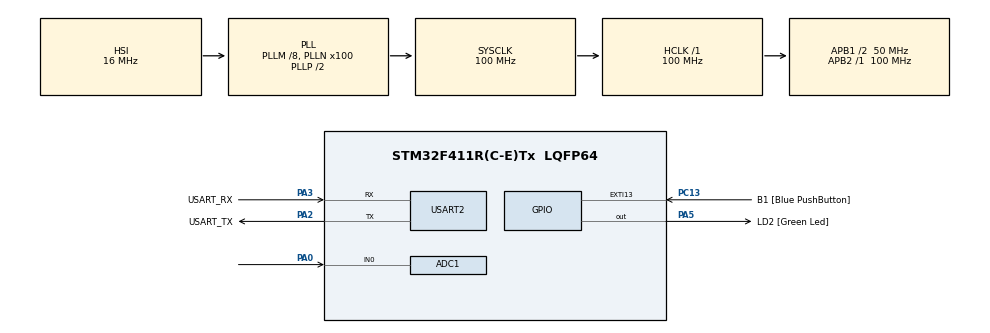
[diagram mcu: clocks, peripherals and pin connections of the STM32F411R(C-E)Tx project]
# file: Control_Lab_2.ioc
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ADC1.Channel-0\#ChannelRegularConversion=ADC_CHANNEL_0
ADC1.ExternalTrigConv=ADC_EXTERNALTRIGCONV_T3_TRGO
ADC1.NbrOfConversionFlag=1
ADC1.Rank-0\#ChannelRegularConversion=1
ADC1.SamplingTime-0\#ChannelRegularConversion=ADC_SAMPLETIME_3CYCLES
ADC1.master=1
Mcu.Family=STM32F4
Mcu.Name=STM32F411R(C-E)Tx
Mcu.Package=LQFP64
NVIC.ADC_IRQn=true\:0\:0\:false\:false\:true\:true\:true
NVIC.PriorityGroup=NVIC_PRIORITYGROUP_0
PA0-WKUP.Signal=ADCx_IN0
PA13.GPIO_Label=TMS
PA13.Mode=Serial_Wire
PA13.Signal=SYS_JTMS-SWDIO
PA14.GPIO_Label=TCK
PA14.Mode=Serial_Wire
PA14.Signal=SYS_JTCK-SWCLK
PA2.GPIO_Label=USART_TX
PA2.Mode=Asynchronous
PA2.Signal=USART2_TX
PA3.GPIO_Label=USART_RX
PA3.Mode=Asynchronous
PA3.Signal=USART2_RX
PA5.GPIO_Label=LD2 [Green Led]
PA5.Signal=GPIO_Output
PB3.GPIO_Label=SWO
PB3.Signal=SYS_JTDO-SWO
PC13-ANTI_TAMP.GPIO_Label=B1 [Blue PushButton]
PC13-ANTI_TAMP.GPIO_ModeDefaultEXTI=GPIO_MODE_IT_FALLING
PC13-ANTI_TAMP.Signal=GPXTI13
PC14-OSC32_IN.Mode=LSE-External-Oscillator
PC14-OSC32_IN.Signal=RCC_OSC32_IN
PC15-OSC32_OUT.Mode=LSE-External-Oscillator
PC15-OSC32_OUT.Signal=RCC_OSC32_OUT
PH0\ -\ OSC_IN.Mode=HSE-External-Clock-Source
PH0\ -\ OSC_IN.Signal=RCC_OSC_IN
PH1\ -\ OSC_OUT.Mode=HSE-External-Clock-Source
PH1\ -\ OSC_OUT.Signal=RCC_OSC_OUT
ProjectManager.HeapSize=0x200
ProjectManager.StackSize=0x400
ProjectManager.TargetToolchain=STM32CubeIDE
RCC.48MHZClocksFreq_Value=50000000
RCC.AHBFreq_Value=100000000
RCC.APB1CLKDivider=RCC_HCLK_DIV2
RCC.APB1Freq_Value=50000000
RCC.APB1TimFreq_Value=100000000
RCC.APB2Freq_Value=100000000
RCC.APB2TimFreq_Value=100000000
RCC.CortexFreq_Value=100000000
RCC.FLatency-AdvancedSettings=FLASH_LATENCY_3
RCC.HCLKFreq_Value=100000000
RCC.HSE_VALUE=8000000
RCC.HSI_VALUE=16000000
RCC.PLLM=8
RCC.PLLN=100
RCC.SYSCLKFreq_VALUE=100000000
RCC.SYSCLKSource=RCC_SYSCLKSOURCE_PLLCLK
RCC.VCOOutputFreq_Value=200000000
SH.ADCx_IN0.0=ADC1_IN0,IN0
TIM3.Period=1999
TIM3.Prescaler=999
TIM3.TIM_MasterOutputTrigger=TIM_TRGO_UPDATE
USART2.VirtualMode=VM_ASYNC
VP_TIM3_VS_ClockSourceINT.Mode=Internal
board=NUCLEO-F411RE

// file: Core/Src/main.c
/* USER CODE BEGIN Header */
/**
  ******************************************************************************
  * @file           : main.c
  * @brief          : Main program body
  ******************************************************************************
  * @attention
  *
  * Copyright (c) 2022 STMicroelectronics.
  * All rights reserved.
  *
  * This software is licensed under terms that can be found in the LICENSE file
  * in the root directory of this software component.
  * If no LICENSE file comes with this software, it is provided AS-IS.
  *
  ******************************************************************************
  */
/* USER CODE END Header */
#include "main.h"

ADC_HandleTypeDef hadc1;

TIM_HandleTypeDef htim3;

UART_HandleTypeDef huart2;

/* USER CODE BEGIN PV */

//var[1] is current value and var[0] is previous value
float Poten_Value[2] = {0} ; // P_n
float Position[2] = {0}; //P_o
float Unwrap_Position[2] = {0}; //y_n
float Filter_Out[2] = {0};
float Velocity[2] = {0};
float Sample_Time = 1/50;
float Cutoff_Frequency = 0.3183 ; // 1/M_PI
float Delta_Position_Poten_Func = 0;
float Delta_Position_Velocity_Func = 0;
float Delta_Position_Unwrap = 0 ;
float Velocity_Foward = 0 ;
int a = 0;

/* USER CODE END PV */

void SystemClock_Config(void);
static void MX_GPIO_Init(void);
static void MX_USART2_UART_Init(void);
static void MX_ADC1_Init(void);
static void MX_TIM3_Init(void);

int main(void)
{

  /* MCU Configuration--------------------------------------------------------*/

  /* Reset of all peripherals, Initializes the Flash interface and the Systick. */
  HAL_Init();

  /* Configure the system clock */
  SystemClock_Config();

  /* Initialize all configured peripherals */
  MX_GPIO_Init();
  MX_USART2_UART_Init();
  MX_ADC1_Init();
  MX_TIM3_Init();
  /* USER CODE BEGIN 2 */

  HAL_ADC_Start_IT(&hadc1);
  HAL_TIM_Base_Start(&htim3);
  /* USER CODE END 2 */

  /* Infinite loop */
  while (1)
  {

  }
}

void SystemClock_Config(void)
{
  RCC_OscInitTypeDef RCC_OscInitStruct = {0};
  RCC_ClkInitTypeDef RCC_ClkInitStruct = {0};

  /** Configure the main internal regulator output voltage
  */
  __HAL_RCC_PWR_CLK_ENABLE();
  __HAL_PWR_VOLTAGESCALING_CONFIG(PWR_REGULATOR_VOLTAGE_SCALE1);
  /** Initializes the RCC Oscillators according to the specified parameters
  * in the RCC_OscInitTypeDef structure.
  */
  RCC_OscInitStruct.OscillatorType = RCC_OSCILLATORTYPE_HSI;
  RCC_OscInitStruct.HSIState = RCC_HSI_ON;
  RCC_OscInitStruct.HSICalibrationValue = RCC_HSICALIBRATION_DEFAULT;
  RCC_OscInitStruct.PLL.PLLState = RCC_PLL_ON;
  RCC_OscInitStruct.PLL.PLLSource = RCC_PLLSOURCE_HSI;
  RCC_OscInitStruct.PLL.PLLM = 8;
  RCC_OscInitStruct.PLL.PLLN = 100;
  RCC_OscInitStruct.PLL.PLLP = RCC_PLLP_DIV2;
  RCC_OscInitStruct.PLL.PLLQ = 4;
  if (HAL_RCC_OscConfig(&RCC_OscInitStruct) != HAL_OK)
  {
    Error_Handler();
  }
  /** Initializes the CPU, AHB and APB buses clocks
  */
  RCC_ClkInitStruct.ClockType = RCC_CLOCKTYPE_HCLK|RCC_CLOCKTYPE_SYSCLK
                              |RCC_CLOCKTYPE_PCLK1|RCC_CLOCKTYPE_PCLK2;
  RCC_ClkInitStruct.SYSCLKSource = RCC_SYSCLKSOURCE_PLLCLK;
  RCC_ClkInitStruct.AHBCLKDivider = RCC_SYSCLK_DIV1;
  RCC_ClkInitStruct.APB1CLKDivider = RCC_HCLK_DIV2;
  RCC_ClkInitStruct.APB2CLKDivider = RCC_HCLK_DIV1;

  if (HAL_RCC_ClockConfig(&RCC_ClkInitStruct, FLASH_LATENCY_3) != HAL_OK)
  {
    Error_Handler();
  }
}

static void MX_ADC1_Init(void)
{

  ADC_ChannelConfTypeDef sConfig = {0};

  /** Configure the global features of the ADC (Clock, Resolution, Data Alignment and number of conversion)
  */
  hadc1.Instance = ADC1;
  hadc1.Init.ClockPrescaler = ADC_CLOCK_SYNC_PCLK_DIV4;
  hadc1.Init.Resolution = ADC_RESOLUTION_12B;
  hadc1.Init.ScanConvMode = DISABLE;
  hadc1.Init.ContinuousConvMode = DISABLE;
  hadc1.Init.DiscontinuousConvMode = DISABLE;
  hadc1.Init.ExternalTrigConvEdge = ADC_EXTERNALTRIGCONVEDGE_RISING;
  hadc1.Init.ExternalTrigConv = ADC_EXTERNALTRIGCONV_T3_TRGO;
  hadc1.Init.DataAlign = ADC_DATAALIGN_RIGHT;
  hadc1.Init.NbrOfConversion = 1;
  hadc1.Init.DMAContinuousRequests = DISABLE;
  hadc1.Init.EOCSelection = ADC_EOC_SINGLE_CONV;
  if (HAL_ADC_Init(&hadc1) != HAL_OK)
  {
    Error_Handler();
  }
  /** Configure for the selected ADC regular channel its corresponding rank in the sequencer and its sample time.
  */
  sConfig.Channel = ADC_CHANNEL_0;
  sConfig.Rank = 1;
  sConfig.SamplingTime = ADC_SAMPLETIME_3CYCLES;
  if (HAL_ADC_ConfigChannel(&hadc1, &sConfig) != HAL_OK)
  {
    Error_Handler();
  }

}

static void MX_TIM3_Init(void)
{

  TIM_ClockConfigTypeDef sClockSourceConfig = {0};
  TIM_MasterConfigTypeDef sMasterConfig = {0};

  htim3.Instance = TIM3;
  htim3.Init.Prescaler = 999;
  htim3.Init.CounterMode = TIM_COUNTERMODE_UP;
  htim3.Init.Period = 1999;
  htim3.Init.ClockDivision = TIM_CLOCKDIVISION_DIV1;
  htim3.Init.AutoReloadPreload = TIM_AUTORELOAD_PRELOAD_DISABLE;
  if (HAL_TIM_Base_Init(&htim3) != HAL_OK)
  {
    Error_Handler();
  }
  sClockSourceConfig.ClockSource = TIM_CLOCKSOURCE_INTERNAL;
  if (HAL_TIM_ConfigClockSource(&htim3, &sClockSourceConfig) != HAL_OK)
  {
    Error_Handler();
  }
  sMasterConfig.MasterOutputTrigger = TIM_TRGO_UPDATE;
  sMasterConfig.MasterSlaveMode = TIM_MASTERSLAVEMODE_DISABLE;
  if (HAL_TIMEx_MasterConfigSynchronization(&htim3, &sMasterConfig) != HAL_OK)
  {
    Error_Handler();
  }

}

static void MX_USART2_UART_Init(void)
{

  huart2.Instance = USART2;
  huart2.Init.BaudRate = 115200;
  huart2.Init.WordLength = UART_WORDLENGTH_8B;
  huart2.Init.StopBits = UART_STOPBITS_1;
  huart2.Init.Parity = UART_PARITY_NONE;
  huart2.Init.Mode = UART_MODE_TX_RX;
  huart2.Init.HwFlowCtl = UART_HWCONTROL_NONE;
  huart2.Init.OverSampling = UART_OVERSAMPLING_16;
  if (HAL_UART_Init(&huart2) != HAL_OK)
  {
    Error_Handler();
  }

}

static void MX_GPIO_Init(void)
{
  GPIO_InitTypeDef GPIO_InitStruct = {0};

  /* GPIO Ports Clock Enable */
  __HAL_RCC_GPIOC_CLK_ENABLE();
  __HAL_RCC_GPIOH_CLK_ENABLE();
  __HAL_RCC_GPIOA_CLK_ENABLE();
  __HAL_RCC_GPIOB_CLK_ENABLE();

  /*Configure GPIO pin Output Level */
  HAL_GPIO_WritePin(LD2_GPIO_Port, LD2_Pin, GPIO_PIN_RESET);

  /*Configure GPIO pin : B1_Pin */
  GPIO_InitStruct.Pin = B1_Pin;
  GPIO_InitStruct.Mode = GPIO_MODE_IT_FALLING;
  GPIO_InitStruct.Pull = GPIO_NOPULL;
  HAL_GPIO_Init(B1_GPIO_Port, &GPIO_InitStruct);

  /*Configure GPIO pin : LD2_Pin */
  GPIO_InitStruct.Pin = LD2_Pin;
  GPIO_InitStruct.Mode = GPIO_MODE_OUTPUT_PP;
  GPIO_InitStruct.Pull = GPIO_NOPULL;
  GPIO_InitStruct.Speed = GPIO_SPEED_FREQ_LOW;
  HAL_GPIO_Init(LD2_GPIO_Port, &GPIO_InitStruct);

}

/* USER CODE BEGIN 4 */

void HAL_ADC_ConvCpltCallback(ADC_HandleTypeDef *hadc)
{
	//Memory previous input value from Potentiometer (Input[n-1])
	Poten_Value[0] = Poten_Value[1];

	//Get value from analog to digital and devide 4096 then multiply by maximum of Potentiometer Value(360 deg)
	Poten_Value[1] = HAL_ADC_GetValue(&hadc1)*360/4096;

	//Memory Position[n-1]
	Position[0] = Position[1];
	Delta_Position_Poten_Func = Poten_Value[1] - Poten_Value[0];

	//Condition for unwrapping
	if(Delta_Position_Poten_Func <= -180)
	{
		Position[1] = Position[0] + 360;
	}
	else if(Delta_Position_Poten_Func >= 180)
	{
		Position[1] = Position[0] - 360;
	}
	else
	{
		Position[1] = Position[0];
	}
	//Previous Output position
	Unwrap_Position[0] = Unwrap_Position[1];

	//Unwrap output Position
	Unwrap_Position[1] = Poten_Value[1] + Position[1];

	//discrete time RC low pass filter
	//Memory Filtre_Out[n-1]
	Filter_Out[0] = Filter_Out[1];
	Filter_Out[1] = (Cutoff_Frequency*Sample_Time*Unwrap_Position[0]) - ( ((Cutoff_Frequency*Sample_Time)-1 )*Filter_Out[0]);

	//memory prevoius Velocity or Velocity[n-1]
	Velocity[0] = Velocity[1];

	//This is Forward Difference method
	Delta_Position_Velocity_Func = Filter_Out[1] - Filter_Out[0];
	Velocity_Foward = Delta_Position_Velocity_Func / Sample_Time ;

	//Velocity[1] is Velocity from tustin approximately in current time but don't good for this work
	Velocity[1] = (2*(Delta_Position_Velocity_Func/Sample_Time)) - Velocity[1];
}

/* USER CODE END 4 */

void Error_Handler(void)
{
  __disable_irq();
  while (1)
  {
  }
}
